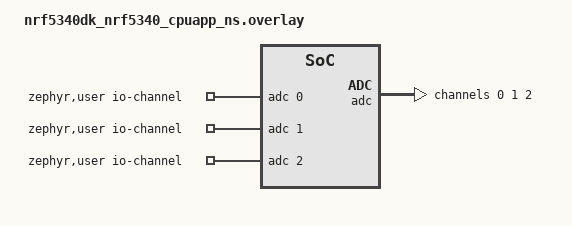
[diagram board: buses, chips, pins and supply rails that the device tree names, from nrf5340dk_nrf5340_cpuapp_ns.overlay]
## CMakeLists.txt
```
# SPDX-License-Identifier: Apache-2.0

cmake_minimum_required(VERSION 3.20.0)

find_package(Zephyr HINTS $ENV{ZEPHYR_BASE})
project(ADC)

target_sources(app PRIVATE src/main.c)
target_sources(app PRIVATE src/adc.c)
```

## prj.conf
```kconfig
# Logger module
CONFIG_LOG=y

# Button and LED library   
CONFIG_DK_LIBRARY=y


CONFIG_ADC=y
```

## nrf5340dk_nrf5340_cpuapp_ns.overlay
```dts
// To get started, press Ctrl+Space to bring up the completion menu and view the available nodes.

// You can also use the buttons in the sidebar to perform actions on nodes.
// Actions currently available include:

// * Enabling / disabling the node
// * Adding the bus to a bus
// * Removing the node
// * Connecting ADC channels

// For more help, browse the DeviceTree documentation at https://docs.zephyrproject.org/latest/guides/dts/index.html
// You can also visit the nRF DeviceTree extension documentation at https://nrfconnect.github.io/vscode-nrf-connect/devicetree/nrfdevicetree.html




/{
	zephyr,user {
		io-channels = <&adc 0>, <&adc 1>, <&adc 2>;
	};
};



&adc {
	status = "okay";
	#address-cells = <1>;
	#size-cells = <0>;

	channel@0 {
		reg = <0>;
		zephyr,gain = "ADC_GAIN_1_6";
		zephyr,reference = "ADC_REF_INTERNAL";
		zephyr,acquisition-time = <ADC_ACQ_TIME_DEFAULT>;
		zephyr,input-positive = <NRF_SAADC_AIN0>; /* P0.03 */
		zephyr,resolution = <12>;
	};

	channel@1 {
		reg = <1>;
		zephyr,gain = "ADC_GAIN_1_6";
		zephyr,reference = "ADC_REF_INTERNAL";
		zephyr,acquisition-time = <ADC_ACQ_TIME_DEFAULT>;
		zephyr,input-positive = <NRF_SAADC_AIN1>;
		zephyr,resolution = <12>;
		//zephyr,oversampling = <8>;
	};

	channel@2 {
		reg = <2>;
		zephyr,gain = "ADC_GAIN_1_6";
		zephyr,reference = "ADC_REF_INTERNAL";
		zephyr,acquisition-time = <ADC_ACQ_TIME_DEFAULT>;
		zephyr,input-positive = <NRF_SAADC_AIN2>;
		zephyr,resolution = <12>;
		//zephyr,oversampling = <8>;
	};


};
```

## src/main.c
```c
/*
 * Copyright (c) 2020 Libre Solar Technologies GmbH
 *
 * SPDX-License-Identifier: Apache-2.0
 */
#include <zephyr/logging/log.h>
#include <dk_buttons_and_leds.h>
#include <inttypes.h>
#include <stddef.h>
#include <stdint.h>
#include <zephyr/kernel.h>
#include <zephyr/sys/printk.h>
#include <zephyr/sys/util.h>
#include "adc.h"
#include <zephyr/device.h>
#include <zephyr/devicetree.h>



#define USER_LED1         	 	DK_LED1
#define USER_LED2          		DK_LED2
#define USER_LED3               DK_LED3
#define USER_LED4               DK_LED4

#define USER_BUTTON_1           DK_BTN1_MSK
#define USER_BUTTON_2           DK_BTN2_MSK
#define USER_BUTTON_3           DK_BTN3_MSK
#define USER_BUTTON_4           DK_BTN4_MSK

LOG_MODULE_REGISTER(MAIN, LOG_LEVEL_INF);

static void button_changed(uint32_t button_state, uint32_t has_changed)
{
	//printk("button_state = %d\n",button_state);
	//printk("has_changed = %d\n",has_changed);
	if ((has_changed & USER_BUTTON_1) && (button_state & USER_BUTTON_1)) 
	{
		printk("Nappi 1 alhaalla\n");
	}

	if ((has_changed & USER_BUTTON_2) && (button_state & USER_BUTTON_2)) 
	{
		printk("Nappi 2 alhaalla\n");
	}		
	
	if ((has_changed & USER_BUTTON_3) && (button_state & USER_BUTTON_3)) 
	{
		printk("Nappi 3 alhaalla\n");
	}		

	if ((has_changed & USER_BUTTON_4) && (button_state & USER_BUTTON_4)) 
	{
		printk("Nappi 4 alhaalla\n");
	}		
}


void main(void)
{
	int err;
	err = dk_leds_init();
	if (err) {
		LOG_ERR("LEDs init failed (err %d)\n", err);
		return;
	}

	err = dk_buttons_init(button_changed);
	if (err) {
		printk("Cannot init buttons (err: %d)\n", err);
		return;
	}
	
	
	if(initializeADC() != 0)
	{
	printk("ADC initialization failed!");
	return;
	}

	while (1) 
	{
		struct Measurement m = readADCValue();
		printk("x = %d,  y = %d,  z = %d\n",m.x,m.y,m.z);
		
		k_sleep(K_MSEC(1000));
		
		dk_set_led_on(USER_LED1);
		dk_set_led_on(USER_LED2);
		dk_set_led_on(USER_LED3);
		dk_set_led_on(USER_LED4);
		 
		k_sleep(K_MSEC(1000));
		
		dk_set_led_off(USER_LED1);
		dk_set_led_off(USER_LED2);
		dk_set_led_off(USER_LED3);
		dk_set_led_off(USER_LED4);


	}
}
```

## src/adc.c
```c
#include <zephyr/device.h>
#include <zephyr/devicetree.h>
#include <zephyr/drivers/adc.h>
#include <hal/nrf_saadc.h>
#include <zephyr/kernel.h>
#include <zephyr/sys/printk.h>
#include <zephyr/sys/util.h>
#include <zephyr/sys/printk.h>
#include "adc.h"

#if !DT_NODE_EXISTS(DT_PATH(zephyr_user)) || \
	!DT_NODE_HAS_PROP(DT_PATH(zephyr_user), io_channels)
#error "No suitable devicetree overlay specified"
#endif

#define DT_SPEC_AND_COMMA(node_id, prop, idx) \
	ADC_DT_SPEC_GET_BY_IDX(node_id, idx),

static const struct adc_dt_spec adc_channels[] = {
	DT_FOREACH_PROP_ELEM(DT_PATH(zephyr_user), io_channels,
			     DT_SPEC_AND_COMMA)
};





void printDebugInfo(void)
{
   printk("printing first adc_dt_spec structure contents for all channels\n");
   for(int i = 0;i<3;i++)
   {
   printk("adc_dt_spec structure, channel %d = \n",i);
   printk("Device pointer = %p\n",adc_channels[1].dev);
   printk("Channel Id = %d\n",adc_channels[i].channel_id);
   printk("Voltage reference = %d\n",adc_channels[i].vref_mv);
   printk("Resolution = %d\n",adc_channels[i].resolution);
   printk("Oversampling = %d\n",adc_channels[i].oversampling);
   printk("\n\n");
   }

}

int initializeADC(void)
{

    int err;
	
	for (size_t i = 0U; i < ARRAY_SIZE(adc_channels); i++) {
		if (!device_is_ready(adc_channels[i].dev)) {
			printk("ADC controller device not ready\n");
			return -1;
		}

		err = adc_channel_setup_dt(&adc_channels[i]);
		if (err < 0) {
			printk("Could not setup channel #%d (%d)\n", i, err);
			return -1;
		}
	}

    return 0;

}

struct Measurement readADCValue(void)
{
	int16_t buf;
    struct Measurement m;
    struct adc_sequence sequence = {
	  .buffer = &buf,

	  .buffer_size = sizeof(buf),
    };

    printk("ADC reading:\n");
	for (size_t i = 0U; i < ARRAY_SIZE(adc_channels); i++) 
    {
		int err;
        int32_t val_mv;
        // For debug use... 
		/*
        printk("- %s, channel %d: ",
		       adc_channels[i].dev->name,
		       adc_channels[i].channel_id);
        */

		(void)adc_sequence_init_dt(&adc_channels[i], &sequence);

		err = adc_read(adc_channels[i].dev, &sequence);
		if (err < 0) {
			printk("Could not read (%d)\n", err);
			continue;
		} else {
            if(i==0)
            {
                m.x = val_mv;
            }
            else if (i==1)
            {
               m.y = val_mv;
            }
            else if (i==2)
            {
                m.z = val_mv;
            }           
			//printk("%"PRId16, buf);
		}

		
		val_mv = buf;
		err = adc_raw_to_millivolts_dt(&adc_channels[i],&val_mv);
		if (err < 0) 
        {
			printk(" (value in mV not available)\n");
		} 
        else 
        {
			if(i==0)
            {
                m.x = val_mv;
            }
            else if (i==1)
            {
               m.y = val_mv;
            }
            else if (i==2)
            {
                m.z = val_mv;
            }           
            //printk(" = %"PRId32" mV\n", val_mv);
		}
	}
    return m;
}
```

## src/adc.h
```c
#ifndef ADC_H_KJJ
#define ADC_H_KJJ

struct Measurement
{
   uint16_t x;
   uint16_t y;
   uint16_t z;
};

int initializeADC(void);
struct Measurement readADCValue(void);
void printDebugInfo(void);


#endif
```
